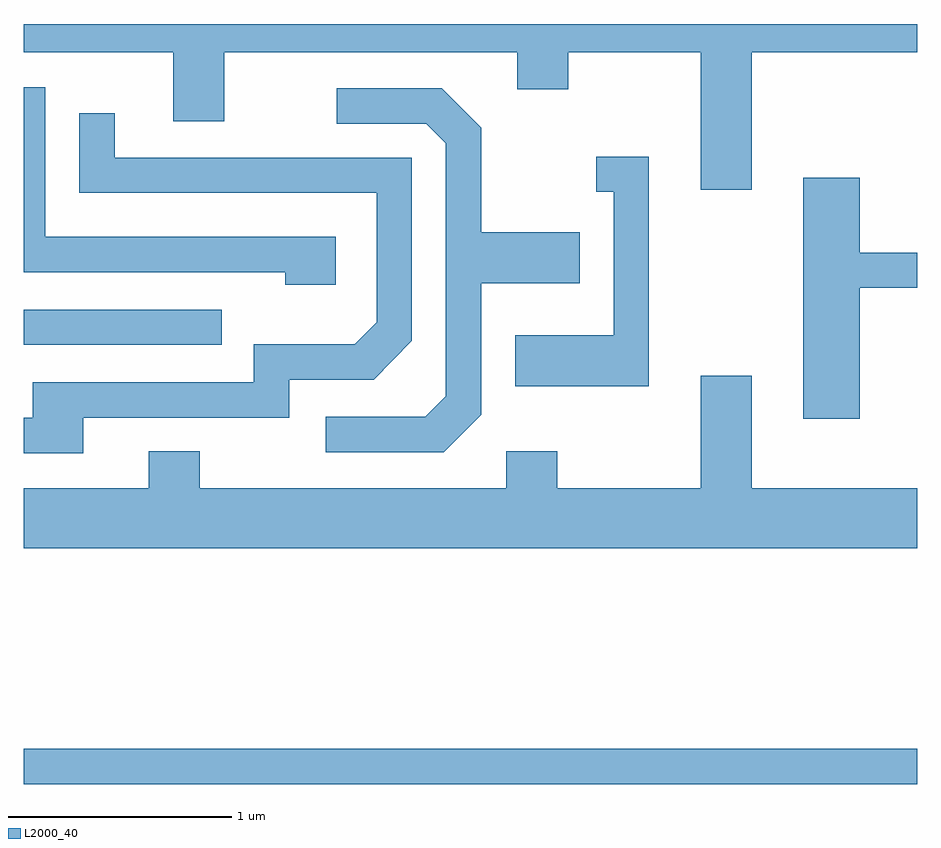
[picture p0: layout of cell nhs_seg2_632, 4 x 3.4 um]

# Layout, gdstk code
import gdstk
lib = gdstk.Library(unit=1e-6, precision=1e-09)
def R(c, l, rs):  # rectangles x0, y0, x1, y1
    for r in rs: c.add(gdstk.rectangle(r[:2], r[2:], *l))
def P(c, l, *ps):  # polygons
    for p in ps: c.add(gdstk.Polygon(p, *l))
L2000_40 = (2000, 40)

nhs_seg2_632 = lib.new_cell('nhs_seg2_632')
R(nhs_seg2_632, L2000_40, [(203.611,1018.401,207.611,1018.559), (203.611,1020.366,204.498,1020.524)])
P(nhs_seg2_632, L2000_40, [(206.869,1021.676),(207.611,1021.676),(207.611,1021.802),(203.611,1021.802),(203.611,1021.676),(204.281,1021.676),(204.281,1021.366),(204.509,1021.366),(204.509,1021.676),(205.821,1021.676),(205.821,1021.511),(206.049,1021.511),(206.049,1021.676),(206.641,1021.676),(206.641,1021.061),(206.869,1021.061)],
  [(205.009,1020.849),(203.709,1020.849),(203.709,1021.519),(203.611,1021.519),(203.611,1020.691),(204.781,1020.691),(204.781,1020.636),(205.009,1020.636)],
  [(205.618,1020.013),(205.659,1020.054),(205.659,1020.641),(206.099,1020.641),(206.099,1020.869),(205.659,1020.869),(205.659,1021.337),(205.482,1021.514),(205.013,1021.514),(205.013,1021.356),(205.414,1021.356),(205.501,1021.269),(205.501,1020.137),(205.409,1020.044),(204.963,1020.044),(204.963,1019.886),(205.492,1019.886)],
  [(203.879,1020.041),(204.799,1020.041),(204.799,1020.211),(205.177,1020.211),(205.349,1020.384),(205.349,1021.204),(204.019,1021.204),(204.019,1021.403),(203.861,1021.403),(203.861,1021.046),(205.191,1021.046),(205.191,1020.467),(205.094,1020.369),(204.641,1020.369),(204.641,1020.199),(203.651,1020.199),(203.651,1020.039),(203.611,1020.039),(203.611,1019.881),(203.879,1019.881)],
  [(206.409,1021.209),(206.173,1021.209),(206.173,1021.051),(206.251,1021.051),(206.251,1020.409),(205.811,1020.409),(205.811,1020.181),(206.409,1020.181)],
  [(207.354,1020.621),(207.611,1020.621),(207.611,1020.779),(207.354,1020.779),(207.354,1021.114),(207.101,1021.114),(207.101,1020.036),(207.354,1020.036)],
  [(207.611,1019.724),(206.869,1019.724),(206.869,1020.229),(206.641,1020.229),(206.641,1019.724),(205.999,1019.724),(205.999,1019.889),(205.771,1019.889),(205.771,1019.724),(204.399,1019.724),(204.399,1019.889),(204.171,1019.889),(204.171,1019.724),(203.611,1019.724),(203.611,1019.456),(207.611,1019.456)])

lib.write_gds('nhs_seg2_632.gds')
